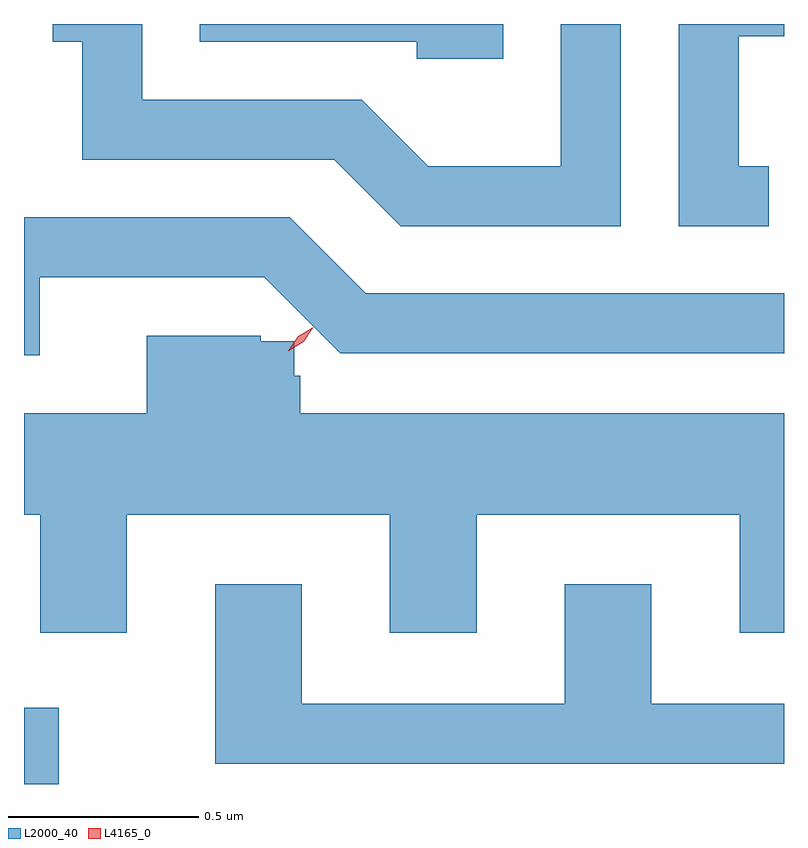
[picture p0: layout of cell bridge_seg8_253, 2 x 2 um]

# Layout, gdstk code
import gdstk
lib = gdstk.Library(unit=1e-6, precision=1e-09)
def R(c, l, rs):  # rectangles x0, y0, x1, y1
    for r in rs: c.add(gdstk.rectangle(r[:2], r[2:], *l))
def P(c, l, *ps):  # polygons
    for p in ps: c.add(gdstk.Polygon(p, *l))
L2000_40 = (2000, 40)
L4165_0 = (4165, 0)

bridge_seg8_253 = lib.new_cell('bridge_seg8_253')
R(bridge_seg8_253, L2000_40, [(1115.278,1831.268,1115.369,1831.469)])
P(bridge_seg8_253, L2000_40, [(1116.849,1833.268),(1116.691,1833.268),(1116.691,1832.894),(1116.342,1832.894),(1116.167,1833.069),(1115.589,1833.069),(1115.589,1833.268),(1115.353,1833.268),(1115.353,1833.221),(1115.431,1833.221),(1115.431,1832.911),(1116.094,1832.911),(1116.269,1832.736),(1116.849,1832.736)],
  [(1117.238,1832.894),(1117.159,1832.894),(1117.159,1833.236),(1117.278,1833.236),(1117.278,1833.268),(1117.001,1833.268),(1117.001,1832.736),(1117.238,1832.736)],
  [(1116.539,1833.268),(1115.741,1833.268),(1115.741,1833.221),(1116.311,1833.221),(1116.311,1833.176),(1116.539,1833.176)],
  [(1115.319,1832.601),(1115.91,1832.601),(1116.11,1832.401),(1117.278,1832.401),(1117.278,1832.559),(1116.177,1832.559),(1115.977,1832.759),(1115.278,1832.759),(1115.278,1832.396),(1115.319,1832.396)],
  [(1115.549,1831.976),(1116.241,1831.976),(1116.241,1831.666),(1116.469,1831.666),(1116.469,1831.976),(1117.161,1831.976),(1117.161,1831.666),(1117.278,1831.666),(1117.278,1832.244),(1116.005,1832.244),(1116.005,1832.343),(1115.989,1832.343),(1115.989,1832.433),(1115.901,1832.433),(1115.901,1832.448),(1115.601,1832.448),(1115.601,1832.244),(1115.278,1832.244),(1115.278,1831.976),(1115.321,1831.976),(1115.321,1831.666),(1115.549,1831.666)],
  [(1117.278,1831.479),(1116.929,1831.479),(1116.929,1831.794),(1116.701,1831.794),(1116.701,1831.479),(1116.009,1831.479),(1116.009,1831.794),(1115.781,1831.794),(1115.781,1831.321),(1117.278,1831.321)])
P(bridge_seg8_253, L4165_0, [(1115.973,1832.407),(1115.973,1832.408),(1115.998,1832.445),(1116.037,1832.469),(1116.038,1832.469),(1116.038,1832.468),(1116.012,1832.431),(1115.974,1832.407)],
  [(1115.977,1832.411),(1115.977,1832.411),(1116,1832.446),(1116.035,1832.467),(1116.036,1832.467),(1116.036,1832.466),(1116.014,1832.432),(1115.978,1832.411)])

lib.write_gds('bridge_seg8_253.gds')
